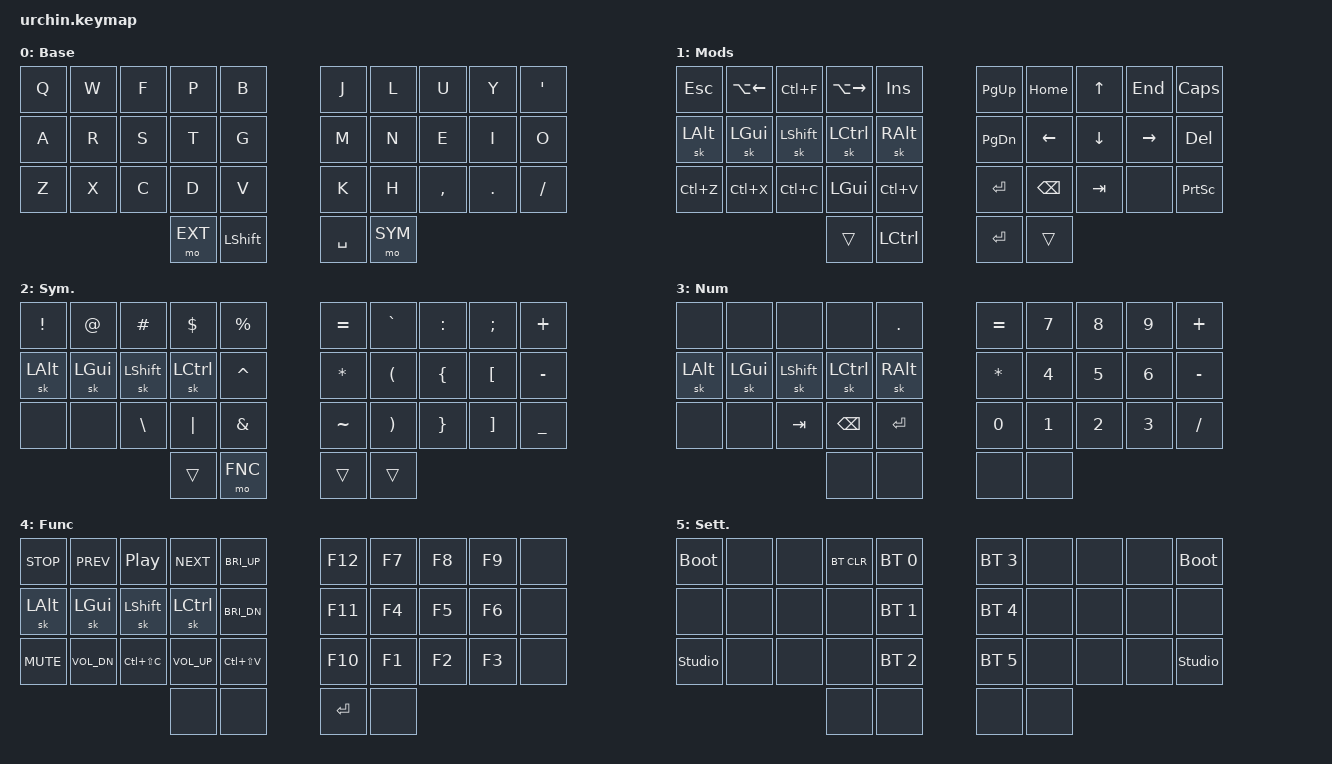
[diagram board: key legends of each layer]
#include <behaviors.dtsi>
#include <dt-bindings/zmk/keys.h>
#include <dt-bindings/zmk/bt.h>
#include <dt-bindings/zmk/outputs.h>

// Layer definitions
#define BASE 0
#define EXT 1
#define SYM 2
#define NUM 3
#define FNC 4
#define SETTINGS 5

// -----------------
#define K_BK LA(LEFT)
#define K_FND LC(F)
#define K_FW LA(RIGHT)

&sk {
  // don't release mods on other mods presses
  ignore-modifiers;
};


/ {
  conditional_layers {
    compatible = "zmk,conditional-layers";
    tri_layer {
      if-layers = <EXT SYM>;
      then-layer = <NUM>;
    };
  };

  combos {
    compatible = "zmk,combos";

    // both left thumb keys
    combo_settings {
      timeout-ms = <200>;
      key-positions = <30 31>;
      bindings = <&mo SETTINGS>;
    };
  };
  keymap {
    compatible = "zmk,keymap";

    // Base alpha layer
    default_layer {
      label = "Base";
      bindings = <
        &kp Q   &kp W   &kp F   &kp P     &kp B        &kp J       &kp L     &kp U       &kp Y     &kp APOS
        &kp A   &kp R   &kp S   &kp T     &kp G        &kp M       &kp N     &kp E       &kp I     &kp O
        &kp Z   &kp X   &kp C   &kp D     &kp V        &kp K       &kp H     &kp COMMA   &kp DOT   &kp SLASH
                                &mo EXT   &kp LSHIFT   &kp SPACE   &mo SYM
      >;
    };

    // Main modifiers and arrow keys
    ext_layer {
      label = "Mods";
      bindings = <
        &kp ESC     &kp K_BK    &kp K_FND    &kp K_FW    &kp INS     &kp PG_UP   &kp HOME   &kp UP     &kp END     &kp CAPS
        &sk LALT    &sk LGUI    &sk LSHIFT   &sk LCTRL   &sk RALT    &kp PG_DN   &kp LEFT   &kp DOWN   &kp RIGHT   &kp DEL
        &kp LC(Z)   &kp LC(X)   &kp LC(C)    &kp LGUI    &kp LC(V)   &kp ENTER   &kp BSPC   &kp TAB    &none       &kp PSCRN
                                             &trans      &kp LCTRL   &kp ENTER   &trans
      >;
    };

    // Numbers and high frequency symbols
    sym_layer {
      label = "Sym.";
      bindings = <
        &kp EXCL   &kp AT     &kp HASH     &kp DOLLAR   &kp PRCNT   &kp EQUAL   &kp GRAVE   &kp COLON   &kp SEMI   &kp PLUS
        &sk LALT   &sk LGUI   &sk LSHIFT   &sk LCTRL    &kp CARET   &kp STAR    &kp LPAR    &kp LBRC    &kp LBKT   &kp MINUS
        &none      &none      &kp BSLH     &kp PIPE     &kp AMPS    &kp TILDE   &kp RPAR    &kp RBRC    &kp RBKT   &kp UNDER
                                           &trans       &mo FNC     &trans      &trans
      >;
    };

    // Numbers
    num_layer {
      label = "Num";
      bindings = <
        &none      &none      &none        &none       &kp DOT     &kp EQL    &kp N7   &kp N8   &kp N9   &kp PLUS
        &sk LALT   &sk LGUI   &sk LSHIFT   &sk LCTRL   &sk RALT    &kp STAR   &kp N4   &kp N5   &kp N6   &kp MINUS
        &none      &none      &kp TAB      &kp BSPC    &kp ENTER   &kp N0     &kp N1   &kp N2   &kp N3   &kp SLASH
                                           &none       &none       &none      &none
      >;
    };

    // Function keys with modifiers
    fnc_layer {
      label = "Func";
      bindings = <
        &kp C_STOP   &kp C_PREV     &kp C_PP        &kp C_NEXT     &kp C_BRI_UP    &kp F12     &kp F7   &kp F8   &kp F9   &none
        &sk LALT     &sk LGUI       &sk LSHIFT      &sk LCTRL      &kp C_BRI_DN    &kp F11     &kp F4   &kp F5   &kp F6   &none
        &kp C_MUTE   &kp C_VOL_DN   &kp LC(LS(C))   &kp C_VOL_UP   &kp LC(LS(V))   &kp F10     &kp F1   &kp F2   &kp F3   &none
                                                    &none          &none           &kp ENTER   &none
      >;
    };

    // Used to change the keyboard's settings.
    settings_layer {
      label = "Sett.";
      bindings = <
        &bootloader      &none   &none   &bt BT_CLR   &bt BT_SEL 0   &bt BT_SEL 3   &none   &none      &none   &bootloader
        &none            &none   &none   &none        &bt BT_SEL 1   &bt BT_SEL 4   &none   &none      &none   &none
        &studio_unlock   &none   &none   &none        &bt BT_SEL 2   &bt BT_SEL 5   &none   &none      &none   &studio_unlock
                                         &none        &none          &none          &none
      >;
    };
  };
};
